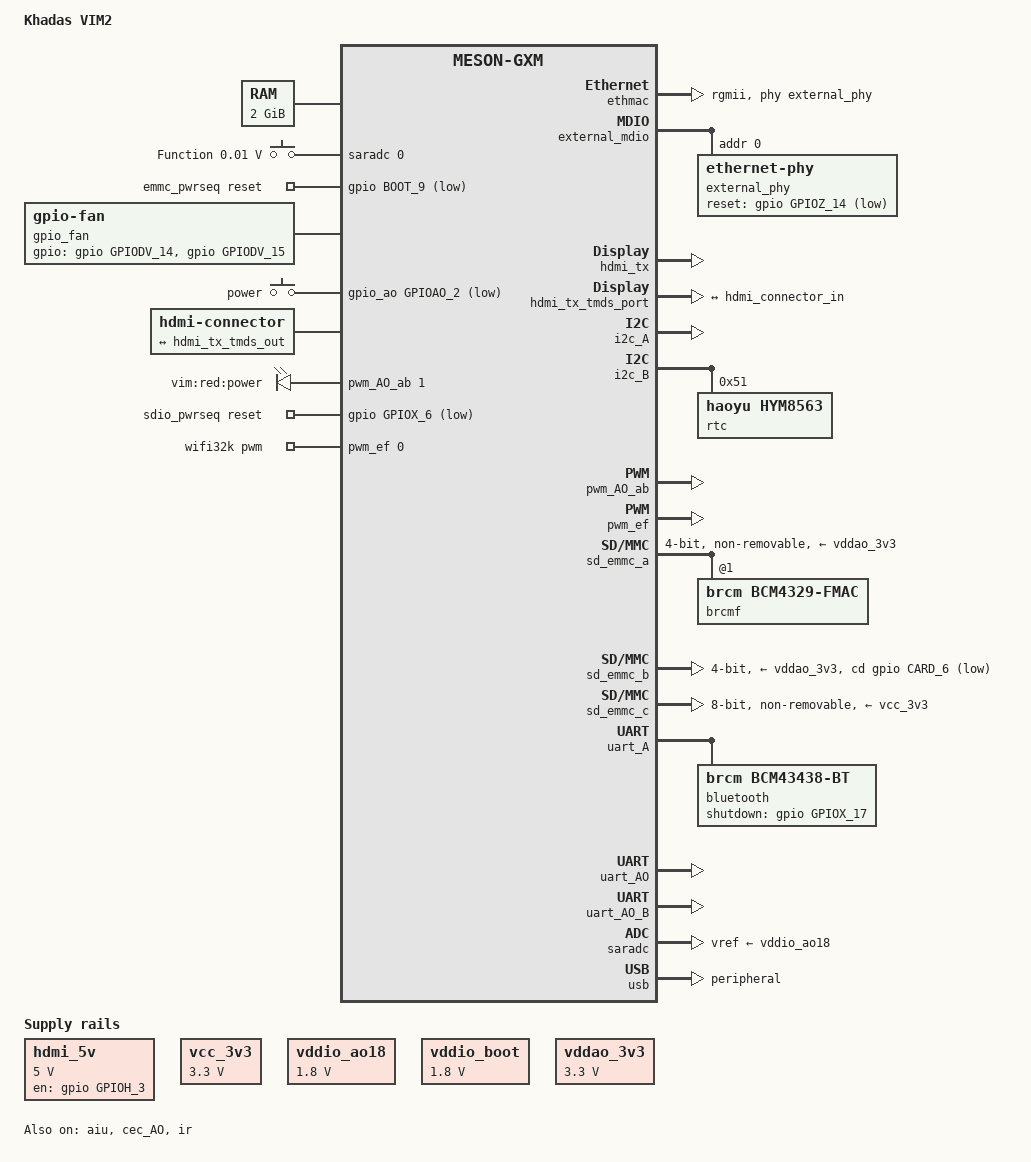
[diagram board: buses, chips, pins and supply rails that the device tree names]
// SPDX-License-Identifier: (GPL-2.0+ OR MIT)
/*
 * Copyright (c) 2017 Martin Blumenstingl <martin.blumenstingl@googlemail.com>.
 * Copyright (c) 2017 BayLibre, SAS
 * Author: Neil Armstrong <narmstrong@baylibre.com>
 */

/dts-v1/;

#include "meson-gxm.dtsi"
#include <dt-bindings/input/input.h>
#include <dt-bindings/sound/meson-aiu.h>

/ {
	compatible = "khadas,vim2", "amlogic,s912", "amlogic,meson-gxm";
	model = "Khadas VIM2";

	aliases {
		serial0 = &uart_AO;
		serial2 = &uart_AO_B;
	};

	chosen {
		stdout-path = "serial0:115200n8";
	};

	memory@0 {
		device_type = "memory";
		reg = <0x0 0x0 0x0 0x80000000>;
	};

	adc-keys {
		compatible = "adc-keys";
		io-channels = <&saradc 0>;
		io-channel-names = "buttons";
		keyup-threshold-microvolt = <1710000>;

		button-function {
			label = "Function";
			linux,code = <KEY_FN>;
			press-threshold-microvolt = <10000>;
		};
	};

	emmc_pwrseq: emmc-pwrseq {
		compatible = "mmc-pwrseq-emmc";
		reset-gpios = <&gpio BOOT_9 GPIO_ACTIVE_LOW>;
	};

	gpio_fan: gpio-fan {
		compatible = "gpio-fan";
		gpios = <&gpio GPIODV_14 GPIO_ACTIVE_HIGH
			 &gpio GPIODV_15 GPIO_ACTIVE_HIGH>;
		/* Dummy RPM values since fan is optional */
		gpio-fan,speed-map = <0 0
				      1 1
				      2 2
				      3 3>;
		#cooling-cells = <2>;
	};

	gpio-keys-polled {
		compatible = "gpio-keys-polled";
		poll-interval = <100>;

		power-button {
			label = "power";
			linux,code = <KEY_POWER>;
			gpios = <&gpio_ao GPIOAO_2 GPIO_ACTIVE_LOW>;
		};
	};

	hdmi-connector {
		compatible = "hdmi-connector";
		type = "a";

		port {
			hdmi_connector_in: endpoint {
				remote-endpoint = <&hdmi_tx_tmds_out>;
			};
		};
	};

	led-controller {
		compatible = "pwm-leds";

		led-1 {
			label = "vim:red:power";
			pwms = <&pwm_AO_ab 1 7812500 0>;
			max-brightness = <255>;
			linux,default-trigger = "default-on";
		};
	};

	sdio_pwrseq: sdio-pwrseq {
		compatible = "mmc-pwrseq-simple";
		reset-gpios = <&gpio GPIOX_6 GPIO_ACTIVE_LOW>;
		clocks = <&wifi32k>;
		clock-names = "ext_clock";
	};

	hdmi_5v: regulator-hdmi-5v {
		compatible = "regulator-fixed";

		regulator-name = "HDMI_5V";
		regulator-min-microvolt = <5000000>;
		regulator-max-microvolt = <5000000>;

		gpio = <&gpio GPIOH_3 GPIO_ACTIVE_HIGH>;
		enable-active-high;
		regulator-always-on;
	};

	vcc_3v3: regulator-vcc_3v3 {
		compatible = "regulator-fixed";
		regulator-name = "VCC_3V3";
		regulator-min-microvolt = <3300000>;
		regulator-max-microvolt = <3300000>;
	};

	vddio_ao18: regulator-vddio_ao18 {
		compatible = "regulator-fixed";
		regulator-name = "VDDIO_AO18";
		regulator-min-microvolt = <1800000>;
		regulator-max-microvolt = <1800000>;
	};

	vddio_boot: regulator-vddio_boot {
		compatible = "regulator-fixed";
		regulator-name = "VDDIO_BOOT";
		regulator-min-microvolt = <1800000>;
		regulator-max-microvolt = <1800000>;
	};

	vddao_3v3: regulator-vddao_3v3 {
		compatible = "regulator-fixed";
		regulator-name = "VDDAO_3V3";
		regulator-min-microvolt = <3300000>;
		regulator-max-microvolt = <3300000>;
	};

	wifi32k: wifi32k {
		compatible = "pwm-clock";
		#clock-cells = <0>;
		clock-frequency = <32768>;
		pwms = <&pwm_ef 0 30518 0>; /* PWM_E at 32.768KHz */
	};

	sound {
		compatible = "amlogic,gx-sound-card";
		model = "KHADAS-VIM2";
		assigned-clocks = <&clkc CLKID_MPLL0>,
				  <&clkc CLKID_MPLL1>,
				  <&clkc CLKID_MPLL2>;
		assigned-clock-parents = <0>, <0>, <0>;
		assigned-clock-rates = <294912000>,
				       <270950400>,
				       <393216000>;
		status = "okay";

		dai-link-0 {
			sound-dai = <&aiu AIU_CPU CPU_I2S_FIFO>;
		};

		dai-link-1 {
			sound-dai = <&aiu AIU_CPU CPU_I2S_ENCODER>;
			dai-format = "i2s";
			mclk-fs = <256>;

			codec-0 {
				sound-dai = <&aiu AIU_HDMI CTRL_I2S>;
			};
		};

		dai-link-2 {
			sound-dai = <&aiu AIU_HDMI CTRL_OUT>;

			codec-0 {
				sound-dai = <&hdmi_tx>;
			};
		};
	};
};

&aiu {
	status = "okay";
};

&cec_AO {
	status = "okay";
	pinctrl-0 = <&ao_cec_pins>;
	pinctrl-names = "default";
	hdmi-phandle = <&hdmi_tx>;
};

&cpu_cooling_maps {
	map0 {
		cooling-device = <&gpio_fan THERMAL_NO_LIMIT 1>;
	};

	map1 {
		cooling-device = <&gpio_fan 2 THERMAL_NO_LIMIT>,
				 <&cpu0 THERMAL_NO_LIMIT THERMAL_NO_LIMIT>,
				 <&cpu1 THERMAL_NO_LIMIT THERMAL_NO_LIMIT>,
				 <&cpu2 THERMAL_NO_LIMIT THERMAL_NO_LIMIT>,
				 <&cpu3 THERMAL_NO_LIMIT THERMAL_NO_LIMIT>,
				 <&cpu4 THERMAL_NO_LIMIT THERMAL_NO_LIMIT>,
				 <&cpu5 THERMAL_NO_LIMIT THERMAL_NO_LIMIT>,
				 <&cpu6 THERMAL_NO_LIMIT THERMAL_NO_LIMIT>,
				 <&cpu7 THERMAL_NO_LIMIT THERMAL_NO_LIMIT>;
	};
};

&ethmac {
	pinctrl-0 = <&eth_pins>;
	pinctrl-names = "default";

	/* Select external PHY by default */
	phy-handle = <&external_phy>;

	amlogic,tx-delay-ns = <2>;

	/* External PHY is in RGMII */
	phy-mode = "rgmii";

	status = "okay";
};

&external_mdio {
	external_phy: ethernet-phy@0 {
		/* Realtek RTL8211F (0x001cc916) */
		reg = <0>;

		reset-assert-us = <10000>;
		reset-deassert-us = <80000>;
		reset-gpios = <&gpio GPIOZ_14 GPIO_ACTIVE_LOW>;

		interrupt-parent = <&gpio_intc>;
		/* MAC_INTR on GPIOZ_15 */
		interrupts = <25 IRQ_TYPE_LEVEL_LOW>;
	};
};

&hdmi_tx {
	status = "okay";
	pinctrl-0 = <&hdmi_hpd_pins>, <&hdmi_i2c_pins>;
	pinctrl-names = "default";
	hdmi-supply = <&hdmi_5v>;
};

&hdmi_tx_tmds_port {
	hdmi_tx_tmds_out: endpoint {
		remote-endpoint = <&hdmi_connector_in>;
	};
};

&i2c_A {
	status = "okay";
	pinctrl-0 = <&i2c_a_pins>;
	pinctrl-names = "default";
};

&i2c_B {
	status = "okay";
	pinctrl-0 = <&i2c_b_pins>;
	pinctrl-names = "default";

	rtc: rtc@51 {
		status = "okay";
		compatible = "haoyu,hym8563";
		reg = <0x51>;
		#clock-cells = <0>;
		clock-output-names = "xin32k";
	};
};

&ir {
	status = "okay";
	pinctrl-0 = <&remote_input_ao_pins>;
	pinctrl-names = "default";
	linux,rc-map-name = "rc-khadas";
};

&pwm_AO_ab {
	status = "okay";
	pinctrl-0 = <&pwm_ao_a_3_pins>, <&pwm_ao_b_pins>;
	pinctrl-names = "default";
	clocks = <&clkc CLKID_FCLK_DIV4>;
	clock-names = "clkin0";
};

&pwm_ef {
	status = "okay";
	pinctrl-0 = <&pwm_e_pins>, <&pwm_f_clk_pins>;
	pinctrl-names = "default";
	clocks = <&clkc CLKID_FCLK_DIV4>;
	clock-names = "clkin0";
};

&sd_emmc_a {
	status = "okay";
	pinctrl-0 = <&sdio_pins>;
	pinctrl-1 = <&sdio_clk_gate_pins>;
	pinctrl-names = "default", "clk-gate";
	#address-cells = <1>;
	#size-cells = <0>;

	bus-width = <4>;
	cap-sd-highspeed;
	max-frequency = <100000000>;

	non-removable;
	disable-wp;

	/* WiFi firmware requires power to be kept while in suspend */
	keep-power-in-suspend;

	mmc-pwrseq = <&sdio_pwrseq>;

	vmmc-supply = <&vddao_3v3>;
	vqmmc-supply = <&vddio_boot>;

	brcmf: wifi@1 {
		reg = <1>;
		compatible = "brcm,bcm4329-fmac";
	};
};

/* SD card */
&sd_emmc_b {
	status = "okay";
	pinctrl-0 = <&sdcard_pins>;
	pinctrl-1 = <&sdcard_clk_gate_pins>;
	pinctrl-names = "default", "clk-gate";

	bus-width = <4>;
	cap-sd-highspeed;
	max-frequency = <50000000>;
	disable-wp;

	cd-gpios = <&gpio CARD_6 GPIO_ACTIVE_LOW>;

	vmmc-supply = <&vddao_3v3>;
	vqmmc-supply = <&vddio_boot>;
};

/* eMMC */
&sd_emmc_c {
	status = "okay";
	pinctrl-0 = <&emmc_pins>, <&emmc_ds_pins>;
	pinctrl-1 = <&emmc_clk_gate_pins>;
	pinctrl-names = "default", "clk-gate";

	bus-width = <8>;
	cap-mmc-highspeed;
	max-frequency = <200000000>;
	non-removable;
	disable-wp;
	mmc-ddr-1_8v;
	mmc-hs200-1_8v;

	mmc-pwrseq = <&emmc_pwrseq>;
	vmmc-supply = <&vcc_3v3>;
	vqmmc-supply = <&vddio_boot>;
};

/*
 * EMMC_DS pin is shared between SPI NOR CS and eMMC Data Strobe
 * Remove emmc_ds_pins from sd_emmc_c pinctrl-0 then spifc can be enabled
 */
&spifc {
	status = "disabled";
	pinctrl-0 = <&nor_pins>;
	pinctrl-names = "default";

	w25q32: flash@0 {
		#address-cells = <1>;
		#size-cells = <1>;
		compatible = "winbond,w25q16", "jedec,spi-nor";
		reg = <0>;
		spi-max-frequency = <104000000>;
	};
};

/* This one is connected to the Bluetooth module */
&uart_A {
	status = "okay";
	pinctrl-0 = <&uart_a_pins>, <&uart_a_cts_rts_pins>;
	pinctrl-names = "default";
	uart-has-rtscts;

	bluetooth {
		compatible = "brcm,bcm43438-bt";
		shutdown-gpios = <&gpio GPIOX_17 GPIO_ACTIVE_HIGH>;
		max-speed = <2000000>;
		clocks = <&wifi32k>;
		clock-names = "lpo";
	};
};

/* This is brought out on the Linux_RX (18) and Linux_TX (19) pins: */
&uart_AO {
	status = "okay";
	pinctrl-0 = <&uart_ao_a_pins>;
	pinctrl-names = "default";
};

/* This is brought out on the UART_RX_AO_B (15) and UART_TX_AO_B (16) pins: */
&uart_AO_B {
	status = "okay";
	pinctrl-0 = <&uart_ao_b_pins>;
	pinctrl-names = "default";
};

&saradc {
	status = "okay";
	vref-supply = <&vddio_ao18>;
};

&usb {
	status = "okay";
	dr_mode = "peripheral";
};
